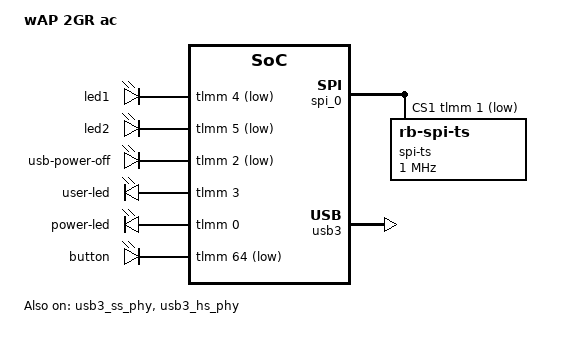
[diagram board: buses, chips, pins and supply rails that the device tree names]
/dts-v1/;
#include "ipq40xx.dtsi"

/ {
	model = "wAP 2GR ac";

	leds {
		compatible = "leds-rb";
		led1 {
			gpios = <&tlmm 4 GPIO_ACTIVE_LOW>;
		};
		led2 {
			gpios = <&tlmm 5 GPIO_ACTIVE_LOW>;
		};
		usb-power-off {
			gpios = <&tlmm 2 GPIO_ACTIVE_LOW>;
		};
		user-led {
			gpios = <&tlmm 3 GPIO_ACTIVE_HIGH>;
		};
		power-led {
			gpios = <&tlmm 0 GPIO_ACTIVE_HIGH>;
			default-state = "keep";
		};
		button {
			gpios = <&tlmm 64 GPIO_ACTIVE_LOW>;
			default-state = "input";
		};
	};
};

&edma {
	port_map = <4 3(-1)>;
};

&tlmm {
	ts_cs_pin: ts_cs_pin_pinmux {
		mux {
			pins = "gpio1";
			function = "gpio";
			bias-disable;
			output-high;
		};
	};
};

&spi_0 {
	num-cs = <2>;
	cs-gpios = <0>, <&tlmm 1 GPIO_ACTIVE_LOW>;

	spi-ts@1 {
		pinctrl-0 = <&ts_cs_pin>;
		pinctrl-names = "default";
		#address-cells = <1>;
		#size-cells = <1>;
		compatible = "rb-spi-ts";
		spi-max-frequency = <1000000>;
		reg = <1>;
	};
};

&usb3 {
	status = "ok";
};

&usb3_ss_phy {
	status = "ok";
};

&usb3_hs_phy {
	status = "ok";
};
